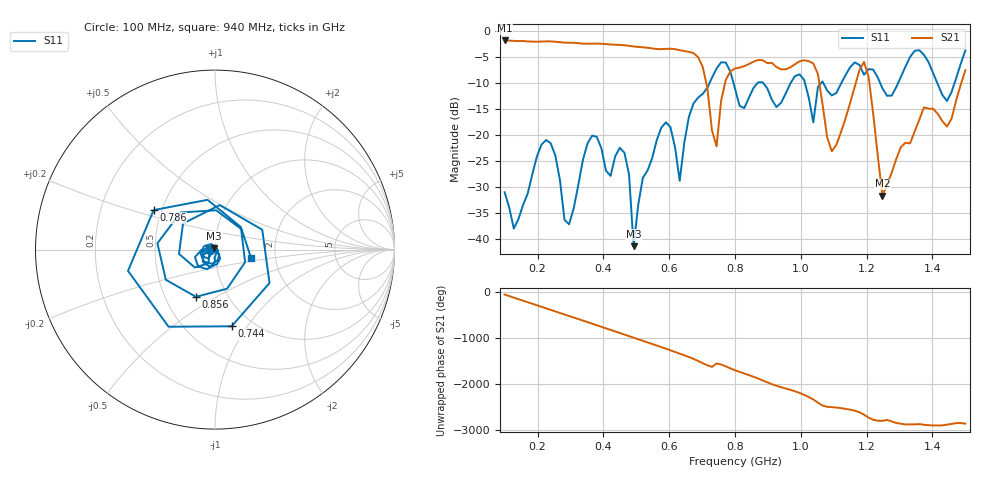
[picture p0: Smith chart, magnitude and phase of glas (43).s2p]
! NanoVNA-App
! Date: 2025-09-25 15:55:48
! Start: 100MHz Stop: 1,5GHz Points: 101
! S-Parameter data: F S11 S21 S12 S22
# Hz S RI R 50
!  Frequency  S11_Real  S11_Imag  S21_Real  S21_Imag  S12_Real  S12_Imag  S22_Real  S22_Imag
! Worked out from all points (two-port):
!   101 points, 100 MHz to 1.5 GHz, reference 50 ohm
!   highest |S21| = -1.80 dB at 100 MHz (marker M1); lowest = -31.6 dB at 1.248 GHz (marker M2)
!   |S21| within 3 dB of the highest: start of sweep to 684.2 MHz
!   lowest |S11| = -41.3 dB at 492 MHz (marker M3), VSWR 1.02, Z = 49.5 + j0.66 ohm
!   |S11| at or under -10 dB: start of sweep to 722.5 MHz; 795.5 MHz to 868.2 MHz (72.72 MHz wide, 8.74 % of centre); 886.1 MHz to 968.8 MHz (82.66 MHz wide, 8.91 % of centre) (the widest 3 of 7)
!   S12 and S22 are empty: the file has one direction only
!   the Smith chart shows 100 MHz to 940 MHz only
!   S11 on the Smith chart (normalised r, x): 100 MHz: 0.95, -0.01; 744 MHz: 0.80, -0.85; 786 MHz: 0.45, +0.24; 856 MHz: 0.71, -0.41; 940 MHz: 1.49, -0.14
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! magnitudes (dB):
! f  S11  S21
! 100 MHz  -31.0  -1.8
! 128 MHz  -37.9  -1.9
! 226 MHz  -20.9  -2.0
! 296 MHz  -37.1  -2.2
! 338 MHz  -24.7  -2.4
! 464 MHz  -23.4  -2.7
! 492 MHz  -41.3  -2.9
! 576 MHz  -18.6  -3.5
! 632 MHz  -28.8  -3.7
! 702 MHz  -12.1  -6.9
! 744 MHz  -7.2  -22.2
! 786 MHz  -7.8  -7.7
! 800 MHz  -11.0  -7.2
! 856 MHz  -10.9  -5.9
! 940 MHz  -13.8  -7.4
! 996 MHz  -8.3  -5.8
! 1.038 GHz  -17.5  -6.2
! 1.094 GHz  -12.4  -23.1
! 1.192 GHz  -8.4  -5.9
! 1.248 GHz  -11.0  -31.6
! 1.276 GHz  -12.4  -27.2
! 1.5 GHz  -3.7  -7.5
